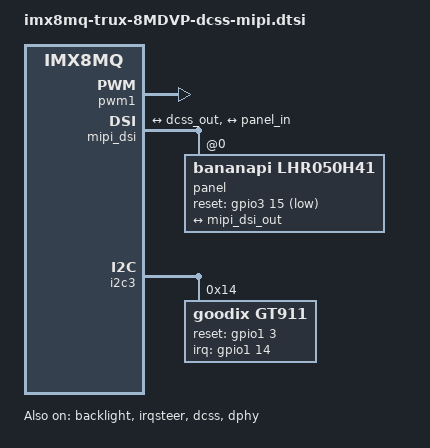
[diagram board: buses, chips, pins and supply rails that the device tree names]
/* Copyrights Trucrux 2022 */

&hdmi {
	status = "disabled";
};

&backlight {
		status = "okay";
	};

&lcdif {
	status = "disabled";
	};

&irqsteer{
	status = "okay";
	};

&pwm1 {
	status = "okay";
	};

&dcss {
	status = "okay";
	clocks = <&clk IMX8MQ_CLK_DISP_APB_ROOT>,
		<&clk IMX8MQ_CLK_DISP_AXI_ROOT>,
		<&clk IMX8MQ_CLK_DISP_RTRM_ROOT>,
		<&clk IMX8MQ_CLK_DC_PIXEL>,
		<&clk IMX8MQ_CLK_DISP_DTRC>;
	clock-names = "apb", "axi", "rtrm", "pix", "dtrc";
	assigned-clocks = <&clk IMX8MQ_CLK_DC_PIXEL>,
			<&clk IMX8MQ_VIDEO_PLL1_BYPASS>,
			<&clk IMX8MQ_VIDEO_PLL1_REF_SEL>,
			<&clk IMX8MQ_CLK_DISP_AXI>,
			<&clk IMX8MQ_CLK_DISP_RTRM>;
	assigned-clock-parents = <&clk IMX8MQ_VIDEO_PLL1_OUT>,
				<&clk IMX8MQ_VIDEO_PLL1>,
				<&clk IMX8MQ_CLK_27M>,
				<&clk IMX8MQ_SYS1_PLL_800M>,
				<&clk IMX8MQ_SYS1_PLL_800M>;
	assigned-clock-rates = <600000000>, <0>, <0>,
				<800000000>,
				<400000000>;
	port@0 {
		dcss_out: endpoint {
			remote-endpoint = <&mipi_dsi_in>;
		};
	};
};


&mipi_dsi {

	#address-cells = <1>;
	#size-cells = <0>;
	status = "okay";

	panel@0 {
		compatible = "bananapi,lhr050h41", "ilitek,ili9881c";
		pinctrl-0 = <&pinctrl_mipi_dsi_rst>;
		pinctrl-names = "default";
		reset-gpio = <&gpio3 15 GPIO_ACTIVE_LOW>;
		reg = <0>;
		timing-mode = <1>;
		video-mode = <3>;
		
		port {
			panel_in: endpoint {
				remote-endpoint = <&mipi_dsi_out>;
				};
			};
		};

	ports {
		#address-cells = <1>;
		#size-cells = <0>;
		port@0 {
			reg = <0>;
			mipi_dsi_in: endpoint {
				remote-endpoint = <&dcss_out>;
				};
			};
		port@1 {
			reg = <1>;
			mipi_dsi_out: endpoint {
				remote-endpoint = <&panel_in>;
				};
			};
	};
};

&dphy {
        status = "okay";
};

&i2c3 {
        address-cells = <1>;
        #size-cells = <0>;
        status = "okay";

        gt911: touchscreen@14 {
                compatible = "goodix,gt911";
                reg = <0x14>;
                reset-gpios = <&gpio1 3 GPIO_ACTIVE_HIGH>;
                interrupt-parent = <&gpio1>;
                interrupts = <14 IRQ_TYPE_LEVEL_HIGH>;
                irq-gpios = <&gpio1 14 GPIO_ACTIVE_HIGH>;
                touchscreen-size-x = <800>;
                touchscreen-size-y = <1280>;
                status = "okay";
                wakeup-source;
        };
};


&iomuxc {

       pinctrl_mipi_dsi_rst: mipi_dsi_rst {
                fsl,pins = <
                        MX8MQ_IOMUXC_NAND_RE_B_GPIO3_IO15         0x19   /* DSI RST */
                >;
        };

       pinctrl_touch_irq: touch_irqgrp {
                fsl,pins = <
                        MX8MQ_IOMUXC_GPIO1_IO14_GPIO1_IO14      0x41    /* Mipi-dsi-touch-interrupt */
                >;
        };
        pinctrl_touch_rst: touch_rstgrp {
                fsl,pins = <
                        MX8MQ_IOMUXC_GPIO1_IO03_GPIO1_IO3        0x16  /* Mipi-dsi-touch-reset */
                >;
        };

};
